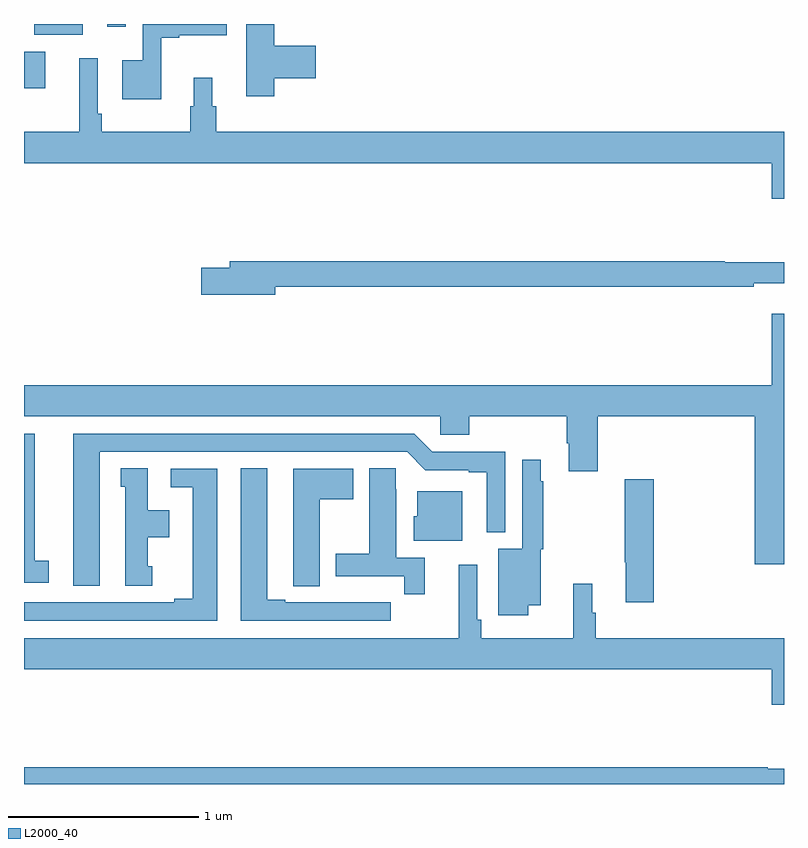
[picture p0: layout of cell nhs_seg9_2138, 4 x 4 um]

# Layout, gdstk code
import gdstk
lib = gdstk.Library(unit=1e-6, precision=1e-09)
def R(c, l, rs):  # rectangles x0, y0, x1, y1
    for r in rs: c.add(gdstk.rectangle(r[:2], r[2:], *l))
def P(c, l, *ps):  # polygons
    for p in ps: c.add(gdstk.Polygon(p, *l))
L2000_40 = (2000, 40)

nhs_seg9_2138 = lib.new_cell('nhs_seg9_2138')
R(nhs_seg9_2138, L2000_40, [(233.054,1182.443,233.308,1182.5), (233.438,1182.486,233.535,1182.5)])
P(nhs_seg9_2138, L2000_40, [(234.317,1182.215),(234.535,1182.215),(234.535,1182.386),(234.317,1182.386),(234.317,1182.5),(234.17,1182.5),(234.17,1182.12),(234.317,1182.12)],
  [(233.722,1182.428),(233.818,1182.428),(233.818,1182.44),(234.067,1182.44),(234.067,1182.5),(233.625,1182.5),(233.625,1182.31),(233.516,1182.31),(233.516,1182.104),(233.722,1182.104)],
  [(233.111,1182.354),(233,1182.354),(233,1182.258),(233.002,1182.258),(233.002,1182.162),(233.111,1182.162)],
  [(237,1181.932),(234.011,1181.932),(234.011,1182.066),(233.992,1182.066),(233.992,1182.217),(233.894,1182.217),(233.894,1182.066),(233.875,1182.066),(233.875,1181.932),(233.408,1181.932),(233.408,1182.028),(233.388,1182.028),(233.388,1182.319),(233.291,1182.319),(233.291,1181.932),(233,1181.932),(233,1181.768),(236.936,1181.768),(236.936,1181.58),(237,1181.58)],
  [(234.322,1181.116),(236.84,1181.116),(236.84,1181.135),(237,1181.135),(237,1181.245),(236.687,1181.245),(236.687,1181.252),(234.083,1181.252),(234.083,1181.216),(233.934,1181.216),(233.934,1181.074),(234.322,1181.074)],
  [(237,1180.975),(236.936,1180.975),(236.936,1180.6),(233,1180.6),(233,1180.436),(235.191,1180.436),(235.191,1180.338),(235.343,1180.338),(235.343,1180.436),(235.856,1180.436),(235.856,1180.294),(235.868,1180.294),(235.868,1180.146),(236.021,1180.146),(236.021,1180.436),(236.846,1180.436),(236.846,1179.657),(237,1179.657)],
  [(233.398,1180.248),(235.017,1180.248),(235.113,1180.152),(235.34,1180.152),(235.34,1180.14),(235.436,1180.14),(235.436,1179.824),(235.533,1179.824),(235.533,1180.248),(235.149,1180.248),(235.053,1180.344),(233.258,1180.344),(233.258,1179.543),(233.398,1179.543)],
  [(233.131,1179.674),(233.056,1179.674),(233.056,1180.344),(233,1180.344),(233,1179.558),(233.131,1179.558)],
  [(235.654,1179.44),(235.72,1179.44),(235.72,1179.735),(235.732,1179.735),(235.732,1180.094),(235.72,1180.094),(235.72,1180.207),(235.623,1180.207),(235.623,1179.739),(235.496,1179.739),(235.496,1179.387),(235.654,1179.387)],
  [(233.674,1179.645),(233.65,1179.645),(233.65,1179.8),(233.764,1179.8),(233.764,1179.94),(233.65,1179.94),(233.65,1180.163),(233.51,1180.163),(233.51,1180.065),(233.534,1180.065),(233.534,1179.543),(233.674,1179.543)],
  [(234.931,1179.456),(234.818,1179.456),(234.818,1179.457),(234.652,1179.457),(234.652,1179.456),(234.376,1179.456),(234.376,1179.471),(234.28,1179.471),(234.28,1180.163),(234.14,1180.163),(234.14,1179.36),(234.931,1179.36)],
  [(235.109,1179.69),(234.958,1179.69),(234.958,1180.052),(234.957,1180.052),(234.957,1180.163),(234.818,1180.163),(234.818,1179.711),(234.641,1179.711),(234.641,1179.594),(235,1179.594),(235,1179.498),(235.109,1179.498)],
  [(234.556,1180),(234.733,1180),(234.733,1180.159),(234.416,1180.159),(234.416,1179.649),(234.417,1179.649),(234.417,1179.541),(234.556,1179.541)],
  [(234.016,1180.158),(233.772,1180.158),(233.772,1180.062),(233.888,1180.062),(233.888,1179.476),(233.792,1179.476),(233.792,1179.456),(233,1179.456),(233,1179.36),(234.016,1179.36)],
  [(236.315,1180.105),(236.161,1180.105),(236.161,1179.668),(236.168,1179.668),(236.168,1179.456),(236.315,1179.456)],
  [(235.306,1180.042),(235.07,1180.042),(235.07,1179.909),(235.052,1179.909),(235.052,1179.779),(235.306,1179.779)],
  [(237,1179.268),(236.009,1179.268),(236.009,1179.402),(235.99,1179.402),(235.99,1179.553),(235.891,1179.553),(235.891,1179.268),(235.406,1179.268),(235.406,1179.364),(235.386,1179.364),(235.386,1179.655),(235.289,1179.655),(235.289,1179.268),(233,1179.268),(233,1179.104),(236.936,1179.104),(236.936,1178.916),(237,1178.916)],
  [(237,1178.581),(236.914,1178.581),(236.914,1178.588),(233,1178.588),(233,1178.5),(237,1178.5)])

lib.write_gds('nhs_seg9_2138.gds')
